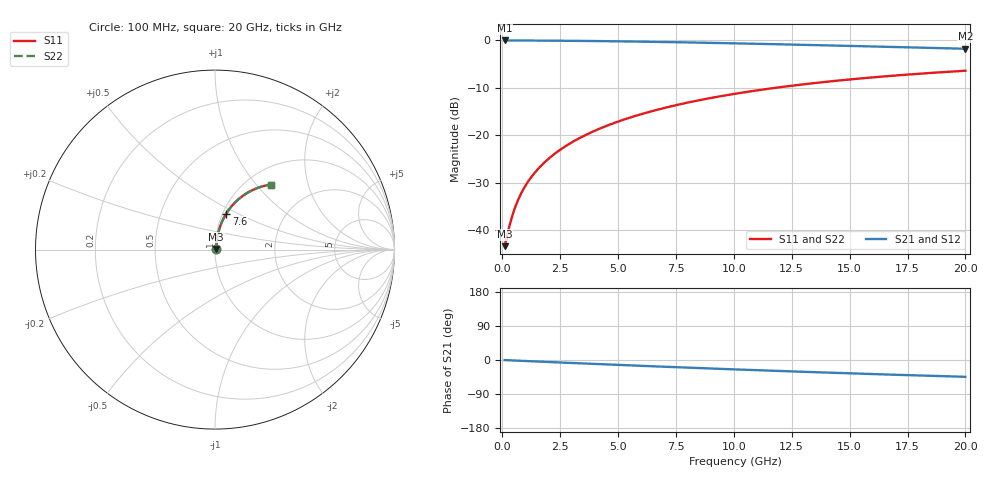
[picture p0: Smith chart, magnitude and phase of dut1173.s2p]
! Touchstone file exported from HFSS 2024.1.0
!  File:  C:/UserFiles/LocalFiles/RDL_TSV_Batchsim/temp_RDL_top_1173_1780048965.aedt
!  Generated:  06:04:50 PM May 29, 2026
!  Design:  RDL_top
!  Project:  temp_RDL_top_1173_1780048965
!  Setup:  Setup1
!  Solution:  Sweep
! Variables:
!  dtsv = 10.80580581um
!  hbump = 3um
!  htsv = 65.61um
!  ldown = 100um
!  lrdl = 571.92um
!  p = 40
!  p1 = 49.25um
!  rhole = 1um
!  t = 450um
!  tdown = 3.915915916um
!  trdl = 2.37um
!  wdown = 15.38538539um
!  wrdl = 14.31um
# GHz S MA R 50.000000
! Terminal data exported
! Port[1] = Box2_T1
! Port[2] = Box2_T2
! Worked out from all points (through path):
!   200 points, 100 MHz to 20 GHz, reference 50 ohm
!   highest |S21| = -0.05 dB at 100 MHz (marker M1); lowest = -1.8 dB at 20 GHz (marker M2)
!   group delay of S21, straight-line fit = 6.17 ps
!   lowest |S11| = -43.4 dB at 100 MHz (marker M3), VSWR 1.01, Z = 50.6 + j0.297 ohm
!   |S11| at or under -10 dB: start of sweep to 11.84 GHz
!   |S22| runs from -43.4 to -6.4 dB; largest |S21 - S12| = 2.5e-15
!   S11 on the Smith chart (normalised r, x): 100 MHz: 1.01, +0.01; 7.6 GHz: 1.04, +0.44; 20 GHz: 1.27, +1.19
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0.1  0.006769 25.7  0.9939 -0.3  0.9939 -0.3  0.006769 25.7
! Gamma 0 0 0 0
! Port Impedance 50 0 50 0
0.3  0.0108 54.1  0.9937 -0.8  0.9937 -0.8  0.0108 54.1
0.4  0.01331 60.7  0.9935 -1.1  0.9935 -1.1  0.01331 60.7
0.5  0.01592 65.1  0.9933 -1.4  0.9933 -1.4  0.01592 65.1
0.6  0.01858 68.1  0.9931 -1.6  0.9931 -1.6  0.01858 68.1
0.7  0.02126 70.3  0.9929 -1.9  0.9929 -1.9  0.02126 70.3
0.9  0.02664 73.3  0.9924 -2.4  0.9924 -2.4  0.02664 73.3
1.2  0.03474 75.9  0.9917 -3.2  0.9917 -3.2  0.03474 75.9
1.4  0.04015 77.0  0.9911 -3.7  0.9911 -3.7  0.04015 77.0
1.7  0.0483 78.0  0.9903 -4.5  0.9903 -4.5  0.04829 78.0
2.2  0.06194 78.9  0.9886 -5.8  0.9886 -5.8  0.06194 78.9
2.8  0.07839 79.2  0.9862 -7.3  0.9862 -7.3  0.07839 79.2
3.5  0.09766 78.8  0.9827 -9.1  0.9827 -9.1  0.09766 78.8
4.2  0.1169 78.2  0.9786 -10.9  0.9786 -10.9  0.1169 78.2
5  0.139 77.1  0.9733 -12.9  0.9733 -12.9  0.139 77.1
5.9  0.1636 75.7  0.9664 -15.1  0.9664 -15.1  0.1636 75.7
6.8  0.188 74.2  0.9589 -17.3  0.9589 -17.3  0.188 74.2
7.6  0.2094 72.7  0.9516 -19.2  0.9516 -19.2  0.2094 72.7
10.1  0.274 67.9  0.9263 -24.9  0.9263 -24.9  0.274 67.9
13.4  0.3518 61.4  0.8894 -32.0  0.8894 -32.0  0.3518 61.4
16.7  0.4195 55.2  0.8509 -38.5  0.8509 -38.5  0.4195 55.2
20  0.477 49.4  0.8129 -44.4  0.8129 -44.4  0.477 49.4
